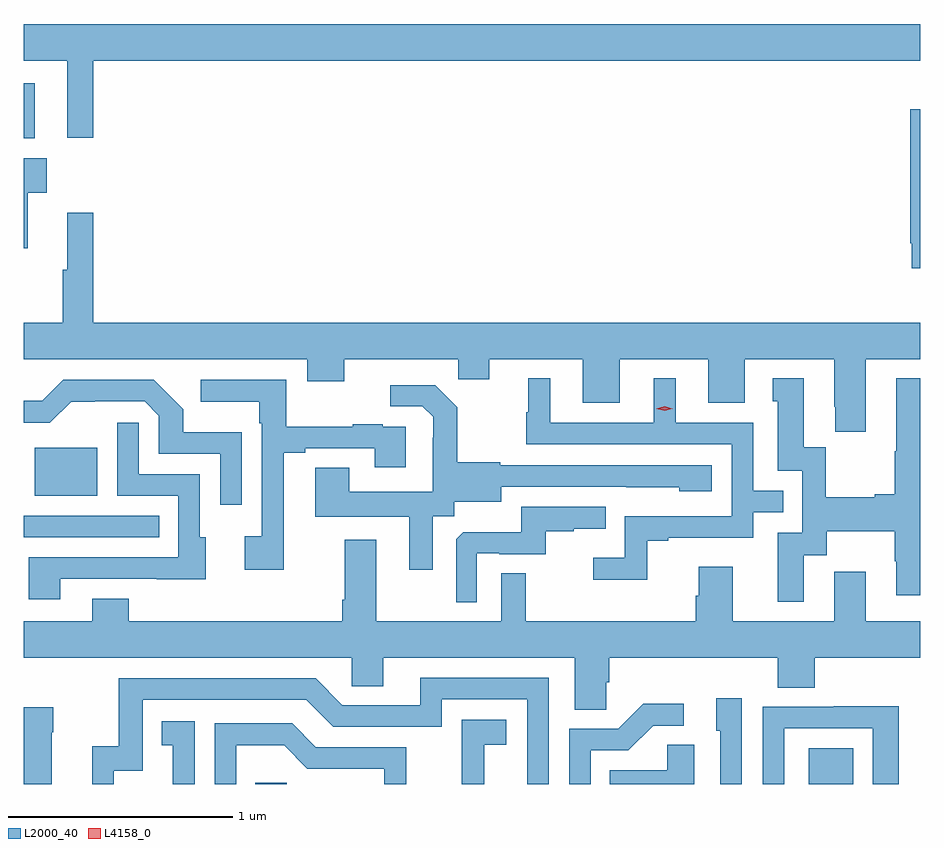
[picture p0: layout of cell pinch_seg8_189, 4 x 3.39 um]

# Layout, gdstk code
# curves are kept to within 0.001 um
import gdstk
lib = gdstk.Library(unit=1e-6, precision=1e-09)
def R(c, l, rs):  # rectangles x0, y0, x1, y1
    for r in rs: c.add(gdstk.rectangle(r[:2], r[2:], *l))
def P(c, l, *ps):  # polygons
    for p in ps: c.add(gdstk.Polygon(p, *l))
L2000_40 = (2000, 40)
L4158_0 = (4158, 0)

pinch_seg8_189 = lib.new_cell('pinch_seg8_189')
R(pinch_seg8_189, L2000_40, [(676.345,1159.893,676.485,1159.899), (678.815,1159.893,679.012,1160.053), (675.312,1160.994,675.917,1161.09), (675.362,1161.179,675.64,1161.394), (675.312,1162.775,675.361,1163.02)])
P(pinch_seg8_189, L2000_40, [(675.312,1163.12),(675.506,1163.12),(675.506,1162.776),(675.623,1162.776),(675.623,1163.12),(679.312,1163.12),(679.312,1163.284),(675.312,1163.284)],
  [(679.312,1162.904),(679.267,1162.904),(679.267,1162.306),(679.275,1162.306),(679.275,1162.194),(679.312,1162.194)],
  [(675.329,1162.532),(675.415,1162.532),(675.415,1162.684),(675.312,1162.684),(675.312,1162.284),(675.329,1162.284)],
  [(679.069,1161.788),(679.312,1161.788),(679.312,1161.952),(675.623,1161.952),(675.623,1162.441),(675.506,1162.441),(675.506,1162.188),(675.487,1162.188),(675.487,1161.952),(675.312,1161.952),(675.312,1161.788),(676.577,1161.788),(676.577,1161.689),(676.741,1161.689),(676.741,1161.788),(677.251,1161.788),(677.251,1161.698),(677.389,1161.698),(677.389,1161.788),(677.807,1161.788),(677.807,1161.594),(677.971,1161.594),(677.971,1161.788),(678.365,1161.788),(678.365,1161.594),(678.529,1161.594),(678.529,1161.788),(678.929,1161.788),(678.929,1161.577),(678.932,1161.577),(678.932,1161.465),(679.069,1161.465)],
  [(678.793,1160.914),(678.895,1160.914),(678.895,1161.02),(679.198,1161.02),(679.198,1160.886),(679.205,1160.886),(679.205,1160.736),(679.312,1160.736),(679.312,1161.703),(679.205,1161.703),(679.205,1161.377),(679.198,1161.377),(679.198,1161.185),(679.109,1161.185),(679.109,1161.172),(678.891,1161.172),(678.891,1161.395),(678.793,1161.395),(678.793,1161.703),(678.653,1161.703),(678.653,1161.6),(678.677,1161.6),(678.677,1161.291),(678.786,1161.291),(678.786,1161.015),(678.677,1161.015),(678.677,1160.706),(678.793,1160.706)],
  [(678.093,1160.979),(678.187,1160.979),(678.187,1160.991),(678.567,1160.991),(678.567,1161.105),(678.701,1161.105),(678.701,1161.201),(678.567,1161.201),(678.567,1161.504),(678.22,1161.504),(678.22,1161.703),(678.122,1161.703),(678.122,1161.504),(677.662,1161.504),(677.662,1161.703),(677.564,1161.703),(677.564,1161.552),(677.553,1161.552),(677.553,1161.408),(678.471,1161.408),(678.471,1161.087),(677.994,1161.087),(677.994,1160.902),(677.853,1160.902),(677.853,1160.804),(678.093,1160.804)],
  [(676.284,1161.463),(676.023,1161.463),(676.023,1161.566),(675.892,1161.696),(675.489,1161.696),(675.395,1161.602),(675.312,1161.602),(675.312,1161.504),(675.429,1161.504),(675.524,1161.599),(675.852,1161.6),(675.915,1161.537),(675.915,1161.366),(676.188,1161.366),(676.188,1161.138),(676.284,1161.138)],
  [(676.471,1161.372),(676.567,1161.372),(676.567,1161.39),(676.877,1161.39),(676.877,1161.306),(677.017,1161.306),(677.017,1161.486),(676.913,1161.486),(676.913,1161.499),(676.781,1161.499),(676.781,1161.488),(676.483,1161.488),(676.483,1161.696),(676.101,1161.696),(676.101,1161.599),(676.362,1161.599),(676.362,1161.503),(676.374,1161.503),(676.374,1160.998),(676.299,1160.998),(676.299,1160.85),(676.471,1160.85)],
  [(677.137,1161.088),(677.232,1161.088),(677.232,1161.152),(677.443,1161.152),(677.443,1161.219),(678.237,1161.218),(678.237,1161.2),(678.382,1161.2),(678.382,1161.315),(677.439,1161.315),(677.439,1161.328),(677.247,1161.328),(677.247,1161.573),(677.147,1161.673),(676.947,1161.673),(676.947,1161.579),(677.091,1161.579),(677.138,1161.532),(677.138,1161.437),(677.136,1161.437),(677.136,1161.196),(676.765,1161.196),(676.765,1161.305),(676.613,1161.305),(676.613,1161.086),(677.033,1161.086),(677.033,1160.85),(677.137,1160.85)],
  [(675.475,1160.808),(675.905,1160.808),(675.905,1160.807),(676.123,1160.807),(676.123,1160.994),(676.098,1160.994),(676.098,1161.276),(675.825,1161.276),(675.825,1161.505),(675.729,1161.505),(675.729,1161.18),(676.002,1161.18),(676.002,1160.904),(675.335,1160.904),(675.335,1160.718),(675.475,1160.718)],
  [(677.334,1160.922),(677.434,1160.922),(677.434,1160.919),(677.642,1160.919),(677.642,1161.021),(677.765,1161.021),(677.765,1161.032),(677.909,1161.032),(677.909,1161.129),(677.532,1161.129),(677.532,1161.017),(677.273,1161.017),(677.241,1160.985),(677.241,1160.705),(677.334,1160.705)],
  [(677.551,1160.834),(677.442,1160.834),(677.442,1160.62),(676.885,1160.62),(676.885,1160.983),(676.745,1160.983),(676.745,1160.716),(676.733,1160.716),(676.733,1160.62),(675.781,1160.62),(675.781,1160.719),(675.617,1160.719),(675.617,1160.62),(675.312,1160.62),(675.312,1160.456),(676.776,1160.456),(676.776,1160.329),(676.915,1160.329),(676.915,1160.456),(677.771,1160.456),(677.771,1160.224),(677.91,1160.224),(677.91,1160.347),(677.924,1160.347),(677.924,1160.456),(678.677,1160.456),(678.677,1160.323),(678.842,1160.323),(678.842,1160.456),(679.312,1160.456),(679.312,1160.62),(679.069,1160.62),(679.069,1160.839),(678.929,1160.839),(678.929,1160.62),(678.475,1160.62),(678.475,1160.863),(678.323,1160.863),(678.323,1160.733),(678.311,1160.733),(678.311,1160.62),(677.551,1160.62)],
  [(675.714,1159.953),(675.843,1159.953),(675.843,1160.268),(676.572,1160.268),(676.692,1160.148),(677.178,1160.148),(677.178,1160.271),(677.559,1160.271),(677.559,1159.893),(677.655,1159.893),(677.655,1160.367),(677.081,1160.367),(677.081,1160.244),(676.734,1160.244),(676.614,1160.364),(675.735,1160.364),(675.735,1160.062),(675.617,1160.062),(675.617,1159.893),(675.714,1159.893)],
  [(678.516,1160.275),(678.401,1160.275),(678.401,1160.13),(678.42,1160.13),(678.42,1159.893),(678.516,1159.893)],
  [(677.841,1160.043),(678.01,1160.043),(678.121,1160.154),(678.256,1160.154),(678.256,1160.252),(678.077,1160.252),(677.964,1160.139),(677.745,1160.139),(677.745,1159.893),(677.841,1159.893)],
  [(678.705,1160.142),(679.101,1160.142),(679.101,1159.893),(679.217,1159.893),(679.217,1160.24),(678.925,1160.24),(678.925,1160.238),(678.609,1160.238),(678.609,1159.893),(678.705,1159.893)],
  [(675.436,1160.123),(675.444,1160.123),(675.444,1160.236),(675.312,1160.236),(675.312,1159.893),(675.436,1159.893)],
  [(677.366,1160.069),(677.464,1160.069),(677.464,1160.179),(677.266,1160.179),(677.266,1159.973),(677.267,1159.973),(677.267,1159.893),(677.366,1159.893)],
  [(676.074,1160.173),(675.928,1160.173),(675.928,1160.067),(675.977,1160.067),(675.977,1159.893),(676.074,1159.893)],
  [(676.26,1160.066),(676.474,1160.066),(676.578,1159.962),(676.92,1159.962),(676.92,1159.893),(677.019,1159.893),(677.019,1160.058),(676.615,1160.058),(676.51,1160.163),(676.164,1160.163),(676.164,1159.893),(676.26,1159.893)],
  [(678.304,1160.069),(678.183,1160.069),(678.183,1159.954),(677.926,1159.954),(677.926,1159.893),(678.304,1159.893)])
P(pinch_seg8_189, L4158_0, [(678.171,1161.558),(678.135,1161.568),(678.135,1161.568),(678.135,1161.568),(678.171,1161.578),(678.206,1161.568),(678.207,1161.568),(678.206,1161.568)])

lib.write_gds('pinch_seg8_189.gds')
